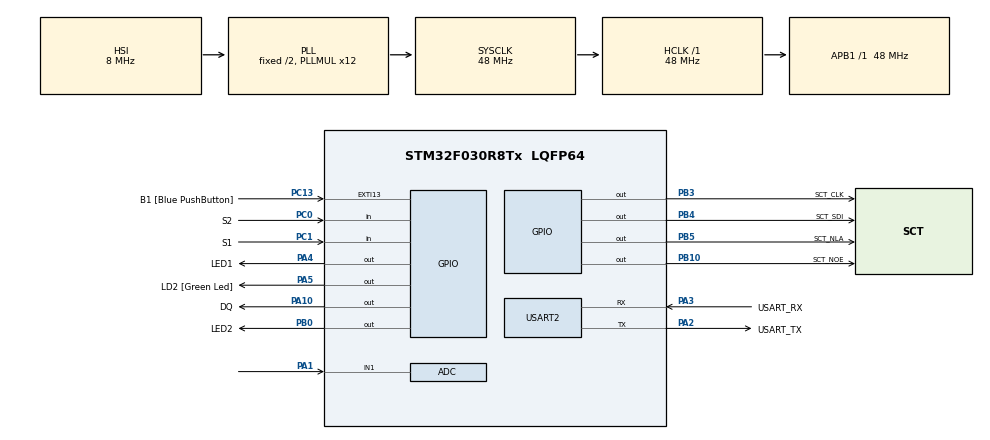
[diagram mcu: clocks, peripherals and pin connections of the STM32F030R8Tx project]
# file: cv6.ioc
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ADC.ContinuousConvMode=ENABLE
ADC.Overrun=ADC_OVR_DATA_OVERWRITTEN
ADC.Resolution=ADC_RESOLUTION_10B
Mcu.Family=STM32F0
Mcu.Name=STM32F030R8Tx
Mcu.Package=LQFP64
PA1.Mode=IN1
PA1.Signal=ADC_IN1
PA10.GPIO_Label=DQ
PA10.GPIO_ModeDefaultOutputPP=GPIO_MODE_OUTPUT_OD
PA10.PinState=GPIO_PIN_SET
PA10.Signal=GPIO_Output
PA13.GPIO_Label=TMS
PA13.Mode=Serial_Wire
PA13.Signal=SYS_SWDIO
PA14.GPIO_Label=TCK
PA14.Mode=Serial_Wire
PA14.Signal=SYS_SWCLK
PA2.GPIO_Label=USART_TX
PA2.GPIO_Mode=GPIO_MODE_AF_PP
PA2.GPIO_PuPd=GPIO_NOPULL
PA2.GPIO_Speed=GPIO_SPEED_FREQ_LOW
PA2.Mode=Asynchronous
PA2.Signal=USART2_TX
PA3.GPIO_Label=USART_RX
PA3.GPIO_Mode=GPIO_MODE_AF_PP
PA3.GPIO_PuPd=GPIO_NOPULL
PA3.GPIO_Speed=GPIO_SPEED_FREQ_LOW
PA3.Mode=Asynchronous
PA3.Signal=USART2_RX
PA4.GPIO_Label=LED1
PA4.Signal=GPIO_Output
PA5.GPIO_Label=LD2 [Green Led]
PA5.GPIO_Mode=GPIO_MODE_OUTPUT_PP
PA5.GPIO_PuPd=GPIO_NOPULL
PA5.GPIO_Speed=GPIO_SPEED_FREQ_LOW
PA5.Signal=GPIO_Output
PB0.GPIO_Label=LED2
PB0.Signal=GPIO_Output
PB10.GPIO_Label=SCT_NOE
PB10.Signal=GPIO_Output
PB3.GPIO_Label=SCT_CLK
PB3.Signal=GPIO_Output
PB4.GPIO_Label=SCT_SDI
PB4.Signal=GPIO_Output
PB5.GPIO_Label=SCT_NLA
PB5.Signal=GPIO_Output
PC0.GPIO_Label=S2
PC0.GPIO_PuPd=GPIO_PULLUP
PC0.Signal=GPIO_Input
PC1.GPIO_Label=S1
PC1.GPIO_PuPd=GPIO_PULLUP
PC1.Signal=GPIO_Input
PC13.GPIO_Label=B1 [Blue PushButton]
PC13.GPIO_ModeDefaultEXTI=GPIO_MODE_IT_FALLING
PC13.Signal=GPXTI13
PC14-OSC32_IN.Mode=LSE-External-Oscillator
PC14-OSC32_IN.Signal=RCC_OSC32_IN
PC15-OSC32_OUT.Mode=LSE-External-Oscillator
PC15-OSC32_OUT.Signal=RCC_OSC32_OUT
PF0-OSC_IN.Mode=HSE-External-Clock-Source
PF0-OSC_IN.Signal=RCC_OSC_IN
PF1-OSC_OUT.Signal=RCC_OSC_OUT
ProjectManager.HeapSize=0x200
ProjectManager.StackSize=0x400
ProjectManager.TargetToolchain=STM32CubeIDE
RCC.AHBFreq_Value=48000000
RCC.APB1Freq_Value=48000000
RCC.APB1TimFreq_Value=48000000
RCC.HCLKFreq_Value=48000000
RCC.PLLMUL=RCC_PLL_MUL12
RCC.SYSCLKFreq_VALUE=48000000
RCC.SYSCLKSource=RCC_SYSCLKSOURCE_PLLCLK
USART2.VirtualMode-Asynchronous=VM_ASYNC
board=NUCLEO-F030R8

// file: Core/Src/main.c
/* USER CODE BEGIN Header */
/**
  ******************************************************************************
  * @file           : main.c
  * @brief          : Main body of DS18B20 and NTC
  ******************************************************************************
  */
/* USER CODE END Header */

#include "main.h"

/* USER CODE BEGIN Includes */
#include <stdlib.h>
#include "sct.h"
#include "1wire.h"
/* USER CODE END Includes */

ADC_HandleTypeDef hadc;

UART_HandleTypeDef huart2;

void SystemClock_Config(void);
static void MX_GPIO_Init(void);
static void MX_USART2_UART_Init(void);
static void MX_ADC_Init(void);

/* USER CODE BEGIN 0 */
// round to closest integer
uint16_t round_closest(uint16_t dividend, uint16_t divisor)
{
    return (dividend + (divisor / 2)) / divisor;
}

/* USER CODE END 0 */

int main(void)
{
  /* USER CODE BEGIN 1 */
  int16_t temp_18b20;
  int16_t adc_val;
  //temperature values based on adc values 0..1023, saturated to min -50 and max 120 degrees celsius
  //multiplied by ten for accuracy
  //used from my friend
  static const int16_t temp_val[] = {-500,-500,-500,-500,-500,-500,-500,-500,-500,-500,-500,-500,-500,-500,
		  -500,-500,-500,-500,-500,-500,-500,-500,-500,-500,-500,-500,-500,-500,-500,-500,-500,-500,-500,
		  -500,-500,-500,-500,-500,-500,-500,-500,-500,-500,-500,-500,-500,-500,-500,-500,-500,-500,-500,
		  -500,-500,-500,-500,-500,-500,-500,-500,-500,-500,-500,-500,-500,-500,-500,-500,-500,-500,-500,
		  -500,-500,-500,-500,-500,-500,-500,-500,-500,-500,-500,-500,-500,-500,-500,-500,-500,-500,-500,
		  -500,-500,-500,-500,-500,-500,-500,-500,-500,-500,-500,-500,-500,-500,-500,-500,-500,-500,-500,
		  -500,-500,-500,-500,-500,-500,-500,-500,-500,-500,-500,-500,-500,-500,-500,-500,-500,-500,-500,
		  -500,-500,-500,-500,-500,-500,-500,-500,-500,-500,-500,-500,-500,-500,-500,-500,-500,-500,-484,
		  -417,-352,-290,-229,-170,-113,-58,-5,47,96,145,191,236,280,322,363,402,440,476,512,546,578,610,
		  640,670,698,725,751,777,801,824,846,868,888,908,927,945,963,979,995,1010,1025,1039,1052,1065,
		  1077,1088,1099,1110,1120,1129,1138,1146,1154,1162,1169,1176,1182,1188,1193,1199,1203,1208,1212,
		  1216,1220,1223,1226,1229,1232,1234,1236,1238,1239,1241,1242,1243,1244,1245,1245,1246,1246,1246,
		  1246,1246,1246,1245,1245,1244,1243,1243,1242,1241,1240,1238,1237,1236,1235,1233,1232,1230,1229,
		  1227,1225,1224,1222,1220,1218,1217,1215,1213,1211,1209,1207,1205,1203,1201,1199,1197,1195,1193,
		  1191,1189,1187,1185,1183,1181,1179,1177,1175,1173,1171,1169,1167,1165,1163,1162,1160,1158,1156,
		  1154,1152,1150,1148,1147,1145,1143,1141,1139,1138,1136,1134,1132,1131,1129,1127,1126,1124,1122,
		  1121,1119,1117,1116,1114,1113,1111,1109,1108,1106,1105,1103,1102,1100,1099,1097,1096,1095,1093,
		  1092,1090,1089,1087,1086,1085,1083,1082,1080,1079,1078,1076,1075,1074,1072,1071,1070,1068,1067,
		  1066,1064,1063,1062,1060,1059,1058,1056,1055,1054,1052,1051,1050,1048,1047,1046,1045,1043,1042,
		  1041,1039,1038,1037,1035,1034,1033,1031,1030,1029,1028,1026,1025,1024,1022,1021,1020,1018,1017,
		  1016,1014,1013,1012,1010,1009,1008,1006,1005,1003,1002,1001,999,998,997,995,994,993,991,990,989,
		  987,986,984,983,982,980,979,978,976,975,973,972,971,969,968,966,965,964,962,961,960,958,957,955,
		  954,953,951,950,948,947,946,944,943,942,940,939,938,936,935,933,932,931,929,928,927,925,924,923,
		  921,920,919,917,916,915,913,912,911,909,908,907,905,904,903,902,900,899,898,896,895,894,893,891,
		  890,889,888,886,885,884,883,881,880,879,878,877,875,874,873,872,871,869,868,867,866,865,863,862,
		  861,860,859,858,857,855,854,853,852,851,850,849,848,846,845,844,843,842,841,840,839,838,836,835,
		  834,833,832,831,830,829,828,827,826,825,824,822,821,820,819,818,817,816,815,814,813,812,811,810,
		  809,808,807,805,804,803,802,801,800,799,798,797,796,795,794,793,792,791,790,788,787,786,785,784,
		  783,782,781,780,779,778,777,775,774,773,772,771,770,769,768,767,765,764,763,762,761,760,759,758,
		  756,755,754,753,752,751,750,748,747,746,745,744,742,741,740,739,738,737,735,734,733,732,731,729,
		  728,727,726,724,723,722,721,719,718,717,716,714,713,712,711,709,708,707,706,704,703,702,701,699,
		  698,697,695,694,693,692,690,689,688,686,685,684,682,681,680,678,677,676,675,673,672,671,669,668,
		  667,665,664,663,661,660,659,657,656,655,653,652,651,650,648,647,646,644,643,642,640,639,638,636,
		  635,634,633,631,630,629,627,626,625,623,622,621,620,618,617,616,614,613,612,611,609,608,607,606,
		  604,603,602,601,599,598,597,595,594,593,592,591,589,588,587,586,584,583,582,581,579,578,577,576,
		  575,573,572,571,570,568,567,566,565,564,562,561,560,559,558,556,555,554,553,551,550,549,548,547,
		  545,544,543,542,541,539,538,537,536,534,533,532,531,530,528,527,526,525,523,522,521,519,518,517,
		  516,514,513,512,510,509,508,507,505,504,503,501,500,499,497,496,494,493,492,490,489,487,486,485,
		  483,482,480,479,477,476,474,473,471,470,468,467,465,464,462,460,459,457,456,454,452,451,449,447,
		  446,444,442,441,439,437,436,434,432,430,428,427,425,423,421,419,417,416,414,412,410,408,406,404,
		  402,400,398,396,394,392,390,388,386,384,382,380,378,376,374,372,370,368,366,364,361,359,357,355,
		  353,351,348,346,344,342,340,337,335,333,331,329,326,324,322,320,317,315,313,311,308,306,304,301,
		  299,297,295,292,290,288,285,283,281,278,276,274,271,269,267,264,262,260,257,255,252,250,248,245,
		  243,240,238,235,233,230,228,225,223,220,218,215,213,210,207,205,202,199,197,194,191,188,185,183,
		  180,177,174,171,167,164,161,158,154,151,148,144,140,137,133,129,125,121,117,113,108,104,99,95,
		  90,85,80,75,69,64,58,52,46,40,33,27,20,13,6,-2,-10,-18,-26,-34,-43,-52,-62,-71,-81,-92,-102,
		  -113,-125,-137,-149,-162,-175,-188,-202,-216,-231,-247,-263,-279,-296,-314,-332,-351,-370,};
  /* USER CODE END 1 */

  /* MCU Configuration--------------------------------------------------------*/

  /* Reset of all peripherals, Initializes the Flash interface and the Systick. */
  HAL_Init();

  /* Configure the system clock */
  SystemClock_Config();

  /* Initialize all configured peripherals */
  MX_GPIO_Init();
  MX_USART2_UART_Init();
  MX_ADC_Init();
  /* USER CODE BEGIN 2 */
  HAL_ADCEx_Calibration_Start(&hadc); //Calibration
  HAL_ADC_Start(&hadc); //ADC Start
  OWInit(); //init 1-wire
  sct_init(); //init display
  /* USER CODE END 2 */

  /* Infinite loop */
  /* USER CODE BEGIN WHILE */
  while (1)
  {
	  //Enum defined and init state
	  static enum { SHOW_DS18B20, SHOW_NTC } state = SHOW_DS18B20;

	  //Pressed button S1 then show DS18B20
	  if (HAL_GPIO_ReadPin(S1_GPIO_Port, S1_Pin) == 0) {
		  state = SHOW_DS18B20;
		  HAL_GPIO_WritePin(LED2_GPIO_Port, LED2_Pin, GPIO_PIN_SET);
		  HAL_GPIO_WritePin(LED1_GPIO_Port	, LED1_Pin, GPIO_PIN_RESET);
	  }
	  //Pressed button S2 then show NTC
	  else if (HAL_GPIO_ReadPin(S2_GPIO_Port, S2_Pin) == 0) {
		  state = SHOW_NTC;
		  HAL_GPIO_WritePin(LED2_GPIO_Port, LED2_Pin, GPIO_PIN_RESET);
		  HAL_GPIO_WritePin(LED1_GPIO_Port, LED1_Pin, GPIO_PIN_SET);
	  }

	  //DS18B20 and NTC selection and calculating
	  switch(state)
	  {
	  case SHOW_DS18B20:
		  OWConvertAll();
		  HAL_Delay(CONVERT_T_DELAY);
		  OWReadTemperature(&temp_18b20);
		  sct_value(round_closest(abs(temp_18b20), 10), 0); // round to nearest integer
		  break;

	  case SHOW_NTC:
		  adc_val = HAL_ADC_GetValue(&hadc);
		  sct_value(abs(temp_val[adc_val]) ,0);
		  break;

	  default:
		  continue;
	  }

	  /* USER CODE END WHILE */

  }
}

void SystemClock_Config(void)
{
  RCC_OscInitTypeDef RCC_OscInitStruct = {0};
  RCC_ClkInitTypeDef RCC_ClkInitStruct = {0};

  /** Initializes the CPU, AHB and APB busses clocks
  */
  RCC_OscInitStruct.OscillatorType = RCC_OSCILLATORTYPE_HSI|RCC_OSCILLATORTYPE_HSI14;
  RCC_OscInitStruct.HSIState = RCC_HSI_ON;
  RCC_OscInitStruct.HSI14State = RCC_HSI14_ON;
  RCC_OscInitStruct.HSICalibrationValue = RCC_HSICALIBRATION_DEFAULT;
  RCC_OscInitStruct.HSI14CalibrationValue = 16;
  RCC_OscInitStruct.PLL.PLLState = RCC_PLL_ON;
  RCC_OscInitStruct.PLL.PLLSource = RCC_PLLSOURCE_HSI;
  RCC_OscInitStruct.PLL.PLLMUL = RCC_PLL_MUL12;
  RCC_OscInitStruct.PLL.PREDIV = RCC_PREDIV_DIV1;
  if (HAL_RCC_OscConfig(&RCC_OscInitStruct) != HAL_OK)
  {
    Error_Handler();
  }
  /** Initializes the CPU, AHB and APB busses clocks
  */
  RCC_ClkInitStruct.ClockType = RCC_CLOCKTYPE_HCLK|RCC_CLOCKTYPE_SYSCLK
                              |RCC_CLOCKTYPE_PCLK1;
  RCC_ClkInitStruct.SYSCLKSource = RCC_SYSCLKSOURCE_PLLCLK;
  RCC_ClkInitStruct.AHBCLKDivider = RCC_SYSCLK_DIV1;
  RCC_ClkInitStruct.APB1CLKDivider = RCC_HCLK_DIV1;

  if (HAL_RCC_ClockConfig(&RCC_ClkInitStruct, FLASH_LATENCY_1) != HAL_OK)
  {
    Error_Handler();
  }
}

static void MX_ADC_Init(void)
{

  ADC_ChannelConfTypeDef sConfig = {0};

  /** Configure the global features of the ADC (Clock, Resolution, Data Alignment and number of conversion)
  */
  hadc.Instance = ADC1;
  hadc.Init.ClockPrescaler = ADC_CLOCK_ASYNC_DIV1;
  hadc.Init.Resolution = ADC_RESOLUTION_10B;
  hadc.Init.DataAlign = ADC_DATAALIGN_RIGHT;
  hadc.Init.ScanConvMode = ADC_SCAN_DIRECTION_FORWARD;
  hadc.Init.EOCSelection = ADC_EOC_SINGLE_CONV;
  hadc.Init.LowPowerAutoWait = DISABLE;
  hadc.Init.LowPowerAutoPowerOff = DISABLE;
  hadc.Init.ContinuousConvMode = ENABLE;
  hadc.Init.DiscontinuousConvMode = DISABLE;
  hadc.Init.ExternalTrigConv = ADC_SOFTWARE_START;
  hadc.Init.ExternalTrigConvEdge = ADC_EXTERNALTRIGCONVEDGE_NONE;
  hadc.Init.DMAContinuousRequests = DISABLE;
  hadc.Init.Overrun = ADC_OVR_DATA_OVERWRITTEN;
  if (HAL_ADC_Init(&hadc) != HAL_OK)
  {
    Error_Handler();
  }
  /** Configure for the selected ADC regular channel to be converted.
  */
  sConfig.Channel = ADC_CHANNEL_1;
  sConfig.Rank = ADC_RANK_CHANNEL_NUMBER;
  sConfig.SamplingTime = ADC_SAMPLETIME_1CYCLE_5;
  if (HAL_ADC_ConfigChannel(&hadc, &sConfig) != HAL_OK)
  {
    Error_Handler();
  }

}

static void MX_USART2_UART_Init(void)
{

  huart2.Instance = USART2;
  huart2.Init.BaudRate = 38400;
  huart2.Init.WordLength = UART_WORDLENGTH_8B;
  huart2.Init.StopBits = UART_STOPBITS_1;
  huart2.Init.Parity = UART_PARITY_NONE;
  huart2.Init.Mode = UART_MODE_TX_RX;
  huart2.Init.HwFlowCtl = UART_HWCONTROL_NONE;
  huart2.Init.OverSampling = UART_OVERSAMPLING_16;
  huart2.Init.OneBitSampling = UART_ONE_BIT_SAMPLE_DISABLE;
  huart2.AdvancedInit.AdvFeatureInit = UART_ADVFEATURE_NO_INIT;
  if (HAL_UART_Init(&huart2) != HAL_OK)
  {
    Error_Handler();
  }

}

static void MX_GPIO_Init(void)
{
  GPIO_InitTypeDef GPIO_InitStruct = {0};

  /* GPIO Ports Clock Enable */
  __HAL_RCC_GPIOC_CLK_ENABLE();
  __HAL_RCC_GPIOF_CLK_ENABLE();
  __HAL_RCC_GPIOA_CLK_ENABLE();
  __HAL_RCC_GPIOB_CLK_ENABLE();

  /*Configure GPIO pin Output Level */
  HAL_GPIO_WritePin(GPIOA, LED1_Pin|LD2_Pin, GPIO_PIN_RESET);

  /*Configure GPIO pin Output Level */
  HAL_GPIO_WritePin(GPIOB, LED2_Pin|SCT_NOE_Pin|SCT_CLK_Pin|SCT_SDI_Pin
                          |SCT_NLA_Pin, GPIO_PIN_RESET);

  /*Configure GPIO pin Output Level */
  HAL_GPIO_WritePin(DQ_GPIO_Port, DQ_Pin, GPIO_PIN_SET);

  /*Configure GPIO pin : B1_Pin */
  GPIO_InitStruct.Pin = B1_Pin;
  GPIO_InitStruct.Mode = GPIO_MODE_IT_FALLING;
  GPIO_InitStruct.Pull = GPIO_NOPULL;
  HAL_GPIO_Init(B1_GPIO_Port, &GPIO_InitStruct);

  /*Configure GPIO pins : S2_Pin S1_Pin */
  GPIO_InitStruct.Pin = S2_Pin|S1_Pin;
  GPIO_InitStruct.Mode = GPIO_MODE_INPUT;
  GPIO_InitStruct.Pull = GPIO_PULLUP;
  HAL_GPIO_Init(GPIOC, &GPIO_InitStruct);

  /*Configure GPIO pins : LED1_Pin LD2_Pin */
  GPIO_InitStruct.Pin = LED1_Pin|LD2_Pin;
  GPIO_InitStruct.Mode = GPIO_MODE_OUTPUT_PP;
  GPIO_InitStruct.Pull = GPIO_NOPULL;
  GPIO_InitStruct.Speed = GPIO_SPEED_FREQ_LOW;
  HAL_GPIO_Init(GPIOA, &GPIO_InitStruct);

  /*Configure GPIO pins : LED2_Pin SCT_NOE_Pin SCT_CLK_Pin SCT_SDI_Pin
                           SCT_NLA_Pin */
  GPIO_InitStruct.Pin = LED2_Pin|SCT_NOE_Pin|SCT_CLK_Pin|SCT_SDI_Pin
                          |SCT_NLA_Pin;
  GPIO_InitStruct.Mode = GPIO_MODE_OUTPUT_PP;
  GPIO_InitStruct.Pull = GPIO_NOPULL;
  GPIO_InitStruct.Speed = GPIO_SPEED_FREQ_LOW;
  HAL_GPIO_Init(GPIOB, &GPIO_InitStruct);

  /*Configure GPIO pin : DQ_Pin */
  GPIO_InitStruct.Pin = DQ_Pin;
  GPIO_InitStruct.Mode = GPIO_MODE_OUTPUT_OD;
  GPIO_InitStruct.Pull = GPIO_NOPULL;
  GPIO_InitStruct.Speed = GPIO_SPEED_FREQ_LOW;
  HAL_GPIO_Init(DQ_GPIO_Port, &GPIO_InitStruct);

}

void Error_Handler(void)
{
}

/************************ (C) COPYRIGHT STMicroelectronics *****END OF FILE****/
